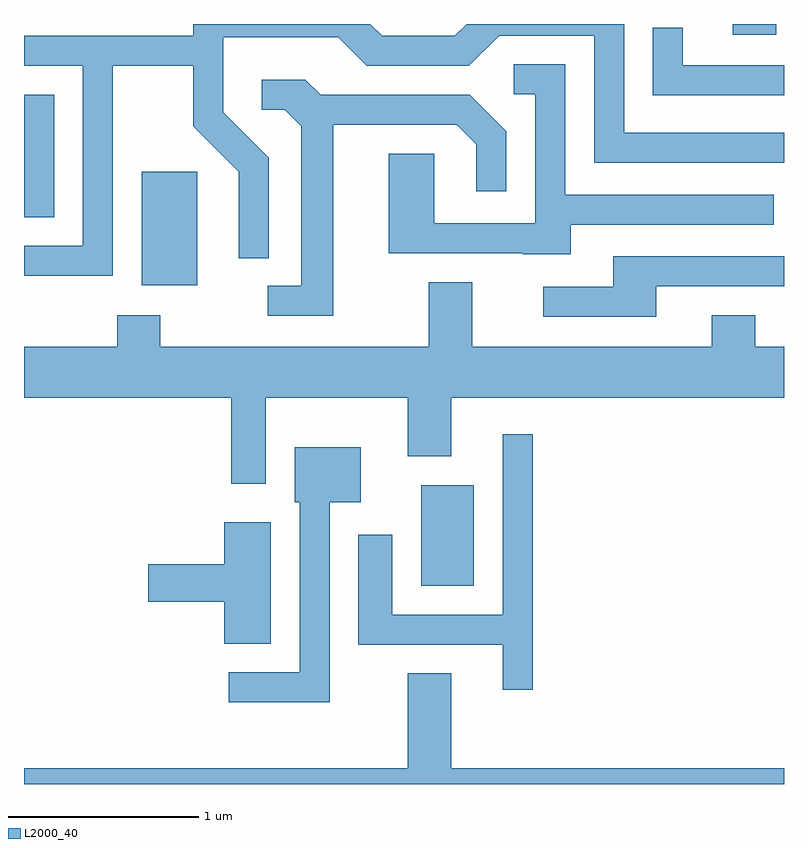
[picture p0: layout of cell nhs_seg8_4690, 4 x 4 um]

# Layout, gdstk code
import gdstk
lib = gdstk.Library(unit=1e-6, precision=1e-09)
def R(c, l, rs):  # rectangles x0, y0, x1, y1
    for r in rs: c.add(gdstk.rectangle(r[:2], r[2:], *l))
def P(c, l, *ps):  # polygons
    for p in ps: c.add(gdstk.Polygon(p, *l))
L2000_40 = (2000, 40)

nhs_seg8_4690 = lib.new_cell('nhs_seg8_4690')
R(nhs_seg8_4690, L2000_40, [(327.701,1875.386,327.979,1875.914), (326.231,1876.966,326.524,1877.564), (325.611,1877.326,325.769,1877.969), (329.341,1878.286,329.569,1878.342)])
P(nhs_seg8_4690, L2000_40, [(326.079,1878.121),(326.501,1878.121),(326.501,1877.804),(326.741,1877.564),(326.741,1877.108),(326.899,1877.108),(326.899,1877.637),(326.659,1877.877),(326.659,1878.271),(327.264,1878.271),(327.414,1878.121),(327.952,1878.121),(328.112,1878.281),(328.611,1878.281),(328.611,1877.611),(329.611,1877.611),(329.611,1877.769),(328.769,1877.769),(328.769,1878.342),(327.942,1878.342),(327.879,1878.279),(327.497,1878.279),(327.434,1878.342),(326.501,1878.342),(326.501,1878.279),(325.611,1878.279),(325.611,1878.121),(325.921,1878.121),(325.921,1877.174),(325.611,1877.174),(325.611,1877.016),(326.079,1877.016)],
  [(329.611,1878.124),(329.079,1878.124),(329.079,1878.323),(328.921,1878.323),(328.921,1877.966),(329.611,1877.966)],
  [(328.489,1877.286),(329.558,1877.286),(329.558,1877.444),(328.459,1877.444),(328.459,1878.129),(328.188,1878.129),(328.188,1877.971),(328.301,1877.971),(328.301,1877.294),(327.769,1877.294),(327.769,1877.659),(327.531,1877.659),(327.531,1877.136),(328.235,1877.136),(328.235,1877.131),(328.489,1877.131)],
  [(327.239,1877.811),(327.889,1877.811),(327.991,1877.709),(327.991,1877.463),(328.149,1877.463),(328.149,1877.777),(327.957,1877.969),(327.172,1877.969),(327.092,1878.049),(326.863,1878.049),(326.863,1877.891),(326.984,1877.891),(327.071,1877.804),(327.071,1876.964),(326.893,1876.964),(326.893,1876.806),(327.239,1876.806)],
  [(328.939,1876.961),(329.611,1876.961),(329.611,1877.119),(328.711,1877.119),(328.711,1876.959),(328.343,1876.959),(328.343,1876.801),(328.939,1876.801)],
  [(326.884,1876.376),(327.631,1876.376),(327.631,1876.066),(327.859,1876.066),(327.859,1876.376),(329.611,1876.376),(329.611,1876.644),(329.459,1876.644),(329.459,1876.809),(329.231,1876.809),(329.231,1876.644),(327.969,1876.644),(327.969,1876.984),(327.741,1876.984),(327.741,1876.644),(326.329,1876.644),(326.329,1876.809),(326.101,1876.809),(326.101,1876.644),(325.611,1876.644),(325.611,1876.376),(326.701,1876.376),(326.701,1875.921),(326.884,1875.921)],
  [(328.289,1876.183),(328.131,1876.183),(328.131,1875.234),(327.549,1875.234),(327.549,1875.654),(327.371,1875.654),(327.371,1875.076),(328.131,1875.076),(328.131,1874.838),(328.289,1874.838)],
  [(327.219,1875.826),(327.384,1875.826),(327.384,1876.114),(327.036,1876.114),(327.036,1875.826),(327.061,1875.826),(327.061,1874.929),(326.688,1874.929),(326.688,1874.771),(327.219,1874.771)],
  [(326.909,1875.719),(326.666,1875.719),(326.666,1875.499),(326.266,1875.499),(326.266,1875.301),(326.666,1875.301),(326.666,1875.081),(326.909,1875.081)],
  [(329.611,1874.424),(327.859,1874.424),(327.859,1874.924),(327.631,1874.924),(327.631,1874.424),(325.611,1874.424),(325.611,1874.342),(329.611,1874.342)])

lib.write_gds('nhs_seg8_4690.gds')
